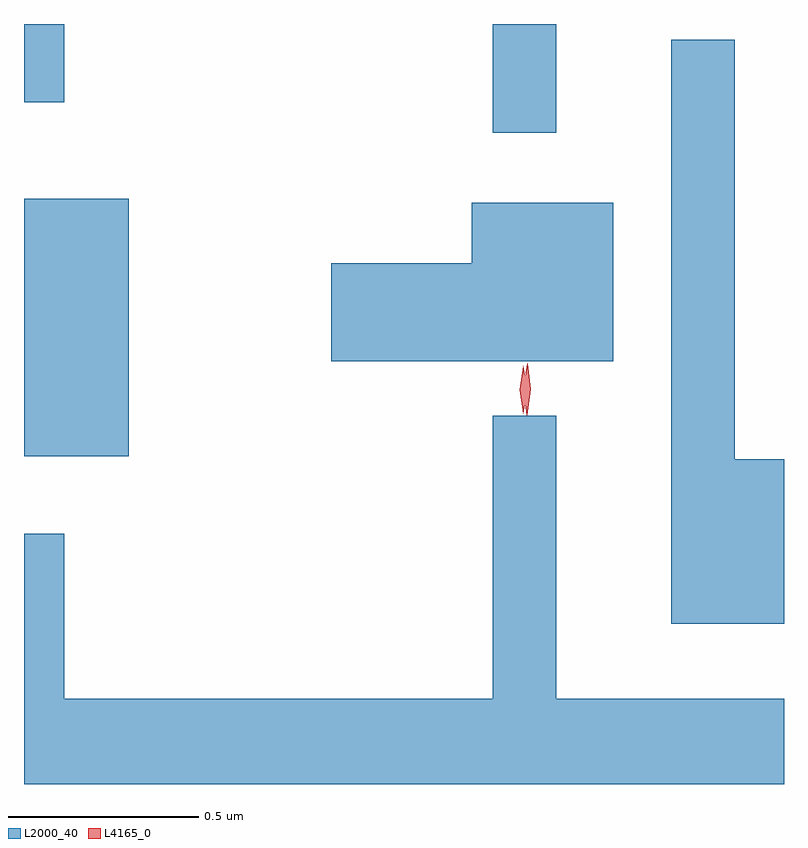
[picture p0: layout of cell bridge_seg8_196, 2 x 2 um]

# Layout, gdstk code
import gdstk
lib = gdstk.Library(unit=1e-6, precision=1e-09)
def R(c, l, rs):  # rectangles x0, y0, x1, y1
    for r in rs: c.add(gdstk.rectangle(r[:2], r[2:], *l))
def P(c, l, *ps):  # polygons
    for p in ps: c.add(gdstk.Polygon(p, *l))
L2000_40 = (2000, 40)
L4165_0 = (4165, 0)

bridge_seg8_196 = lib.new_cell('bridge_seg8_196')
R(bridge_seg8_196, L2000_40, [(1064.748,1937.221,1065.024,1937.899), (1065.981,1938.073,1066.149,1938.359), (1064.748,1938.153,1064.854,1938.359)])
P(bridge_seg8_196, L2000_40, [(1066.748,1937.214),(1066.619,1937.214),(1066.619,1938.318),(1066.451,1938.318),(1066.451,1936.781),(1066.748,1936.781)],
  [(1066.299,1937.889),(1065.926,1937.889),(1065.926,1937.729),(1065.556,1937.729),(1065.556,1937.471),(1066.299,1937.471)],
  [(1066.748,1936.584),(1066.149,1936.584),(1066.149,1937.328),(1065.981,1937.328),(1065.981,1936.584),(1064.854,1936.584),(1064.854,1937.018),(1064.748,1937.018),(1064.748,1936.359),(1066.748,1936.359)])
P(bridge_seg8_196, L4165_0, [(1066.062,1937.333),(1066.062,1937.333),(1066.052,1937.396),(1066.062,1937.459),(1066.062,1937.46),(1066.062,1937.459),(1066.072,1937.396),(1066.062,1937.333)],
  [(1066.072,1937.329),(1066.071,1937.33),(1066.062,1937.398),(1066.072,1937.465),(1066.073,1937.466),(1066.073,1937.465),(1066.082,1937.398),(1066.072,1937.33)])

lib.write_gds('bridge_seg8_196.gds')
